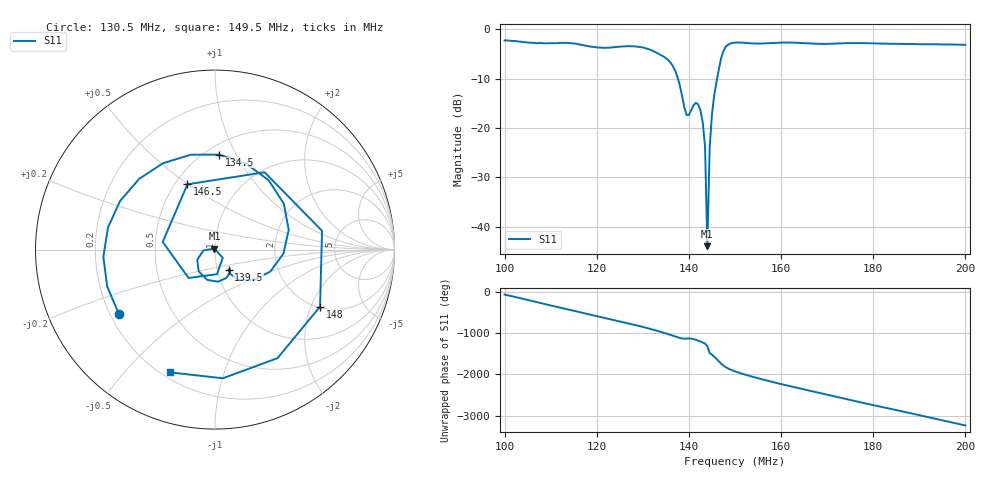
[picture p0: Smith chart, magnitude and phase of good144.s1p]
#  HZ  S  RI  R  50.00
! Rohde & Schwarz ZVA40 2Ports - Version 3.12 - 1145.1110k40 SN: 100360
! Date: 2019-07-29 15:10:09
! Measurement: S11
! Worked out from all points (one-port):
!   201 points, 100 MHz to 200 MHz, reference 50 ohm
!   lowest |S11| = -43.9 dB at 144 MHz (marker M1), VSWR 1.01, Z = 49.7 + j0.538 ohm
!   |S11| at or under -10 dB: 137.6 MHz to 146.1 MHz (8.499 MHz wide, 5.99 % of centre)
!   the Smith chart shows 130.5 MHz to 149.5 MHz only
!   S11 on the Smith chart (normalised r, x): 130.5 MHz: 0.24, -0.29; 134.5 MHz: 0.58, +0.86; 139.5 MHz: 1.13, -0.26; 146.5 MHz: 0.58, +0.50; 148 MHz: 2.04, -2.33; 149.5 MHz: 0.23, -0.68
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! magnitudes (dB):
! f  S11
! 100 MHz  -2.3
! 112.5 MHz  -2.8
! 120.5 MHz  -3.7
! 125 MHz  -3.5
! 130.5 MHz  -3.8
! 134.5 MHz  -5.5
! 136 MHz  -6.7
! 137.5 MHz  -9.6
! 139.5 MHz  -17.4
! 140 MHz  -17.3
! 141.5 MHz  -14.9
! 142 MHz  -15.2
! 142.5 MHz  -16.4
! 143 MHz  -18.9
! 143.5 MHz  -23.8
! 144 MHz  -43.9
! 144.5 MHz  -24.0
! 145 MHz  -17.2
! 145.5 MHz  -13.3
! 146.5 MHz  -8.1
! 147 MHz  -5.8
! 148 MHz  -3.5
! 149.5 MHz  -2.8
! 150 MHz  -2.7
! 162.5 MHz  -2.7
! 175 MHz  -2.8
! 187.5 MHz  -3.0
! 200 MHz  -3.2
